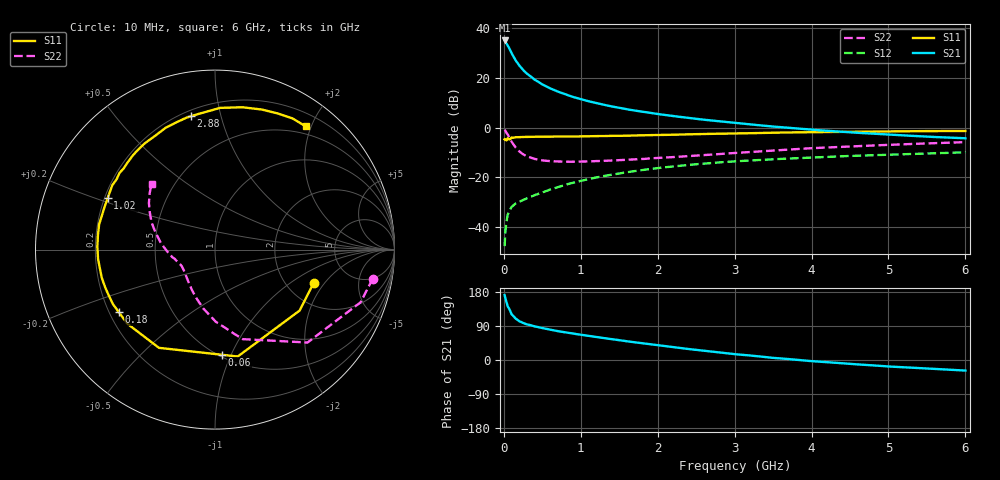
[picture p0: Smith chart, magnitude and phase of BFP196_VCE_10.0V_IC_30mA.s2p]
! Infineon Technologies  Discrete & RF Semiconductors
! BFP196
! VCE = 10.0V,  IC =  30mA
! Common Emitter S-Parameters:  Jan 2016
# GHz  S  MA  R  50
!  f  S11  S21  S12  S22
! GHz  MAG  ANG  MAG  ANG  MAG  ANG  MAG  ANG
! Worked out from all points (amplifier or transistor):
!   210 points, 10 MHz to 6 GHz, reference 50 ohm
!   highest |S21| = 34.9 dB at 10 MHz (marker M1)
!   |S21| within 3 dB of that: start of sweep to 66.97 MHz
!   unconditionally stable (mu >= 1): 651.6 MHz to 4.678 GHz
!   at 185 MHz: K = 0.54, MSG = 27.8 dB, |S12| = -30.0 dB
!   at 1.52 GHz: K = 1.10, MAG = 11.2 dB, |S12| = -18.3 dB
!   at 6 GHz: K = 0.97, MSG = 2.8 dB, |S12| = -9.9 dB
!   S11 on the Smith chart (normalised r, x): 10 MHz: 2.79, -1.57; 60 MHz: 0.52, -0.92; 180 MHz: 0.24, -0.28; 1.02 GHz: 0.21, +0.22; 2.88 GHz: 0.23, +0.81; 6 GHz: 0.38, +1.92
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0.01  0.5802 -18.7  55.46 171.1  0.0042 75.3  0.8939 -10.4
0.02  0.581 -35.8  52.63 162.0  0.0083 72.0  0.8626 -19.9
0.05  0.609 -78.0  44.36 141.6  0.0179 57.5  0.7308 -45.1
0.06  0.5873 -86.2  41.31 138.5  0.0194 54.7  0.6787 -49.2
0.1  0.6301 -119.7  30.85 120.7  0.0256 46.7  0.5219 -72.9
0.15  0.6396 -139.8  22.45 109.4  0.03 42.9  0.4019 -89.4
0.18  0.6393 -147.1  19.48 105.7  0.0315 43.1  0.3592 -96.0
0.2  0.6449 -152.0  17.55 102.5  0.0325 43.3  0.334 -101.3
0.24  0.6455 -158.6  14.86 98.8  0.0347 44.0  0.2986 -108.7
0.3  0.6501 -166.1  11.97 94.0  0.0382 46.6  0.2664 -117.6
0.4  0.6537 -175.5  9.11 88.7  0.0441 49.2  0.2349 -128.6
0.5  0.6557 178.6  7.299 84.2  0.05 52.1  0.2198 -136.4
0.6  0.6573 172.8  6.105 80.0  0.0571 53.7  0.2122 -141.7
0.7  0.6607 167.6  5.254 76.1  0.0637 54.6  0.2089 -146.0
1.02  0.663 154.3  3.627 66.0  0.0867 55.1  0.208 -155.1
1.4  0.6822 141.2  2.645 55.1  0.1132 52.6  0.2179 -161.9
2.02  0.7101 122.9  1.845 38.6  0.1551 45.6  0.2463 -172.0
2.88  0.7547 100.4  1.294 18.2  0.204 34.5  0.3005 173.6
3.1  0.7639 95.8  1.195 13.7  0.2144 31.5  0.3157 170.0
4.1  0.8098 77.5  0.882 -4.3  0.2542 19.6  0.3918 155.2
5.1  0.8375 63.9  0.708 -18.1  0.2889 8.8  0.4557 143.7
6  0.8526 53.6  0.609 -27.9  0.319 -0.9  0.5098 133.8
